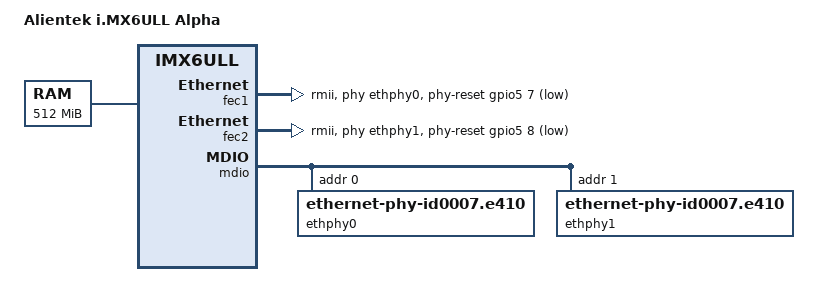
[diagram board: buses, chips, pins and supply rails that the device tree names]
// SPDX-License-Identifier: GPL-2.0
/dts-v1/;

#include "imx6ull-14x14-evk.dts"

/ {
	model = "Alientek i.MX6ULL Alpha";
	compatible = "alientek,imx6ull-alpha", "fsl,imx6ull";

	memory@80000000 {
		device_type = "memory";
		reg = <0x80000000 0x20000000>;
	};
};

&fec1 {
	pinctrl-names = "default";
	pinctrl-0 = <&pinctrl_enet1>;
	phy-mode = "rmii";
	phy-handle = <&ethphy0>;
	phy-reset-gpios = <&gpio5 7 GPIO_ACTIVE_LOW>;
	phy-reset-duration = <200>;
	status = "okay";
};

&fec2 {
	pinctrl-names = "default";
	pinctrl-0 = <&pinctrl_enet2>;
	phy-mode = "rmii";
	phy-handle = <&ethphy1>;
	phy-reset-gpios = <&gpio5 8 GPIO_ACTIVE_LOW>;
	phy-reset-duration = <200>;
	status = "okay";
};

&mdio {
	ethphy0: ethernet-phy@0 {
		compatible = "ethernet-phy-id0007.e410", "ethernet-phy-ieee802.3-c22";
		reg = <0>;
		smsc,disable-energy-detect;
		clocks = <&clks IMX6UL_CLK_ENET_REF>;
		clock-names = "rmii-ref";
	};

	ethphy1: ethernet-phy@1 {
		compatible = "ethernet-phy-id0007.e410", "ethernet-phy-ieee802.3-c22";
		reg = <1>;
		smsc,disable-energy-detect;
		clocks = <&clks IMX6UL_CLK_ENET_REF>;
		clock-names = "rmii-ref";
	};
};
